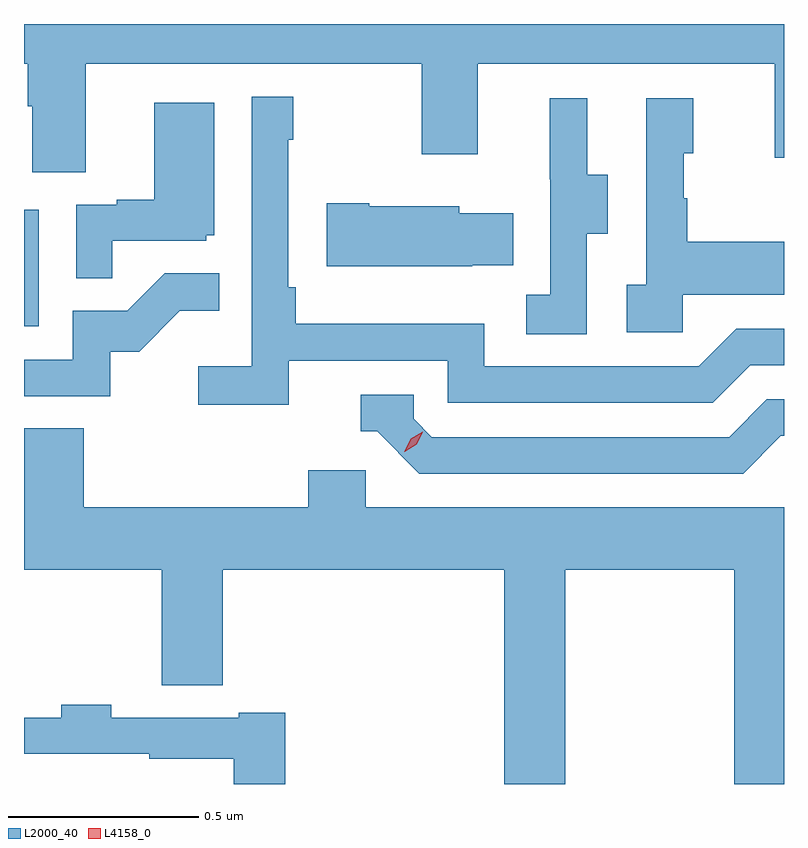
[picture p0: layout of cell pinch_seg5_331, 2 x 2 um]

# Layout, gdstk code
import gdstk
lib = gdstk.Library(unit=1e-6, precision=1e-09)
def R(c, l, rs):  # rectangles x0, y0, x1, y1
    for r in rs: c.add(gdstk.rectangle(r[:2], r[2:], *l))
def P(c, l, *ps):  # polygons
    for p in ps: c.add(gdstk.Polygon(p, *l))
L2000_40 = (2000, 40)
L4158_0 = (4158, 0)

pinch_seg5_331 = lib.new_cell('pinch_seg5_331')
R(pinch_seg5_331, L2000_40, [(923.353,882.708,923.392,883.015)])
P(pinch_seg5_331, L2000_40, [(923.515,883.4),(924.4,883.4),(924.4,883.161),(924.547,883.161),(924.547,883.4),(925.328,883.4),(925.328,883.152),(925.353,883.152),(925.353,883.504),(923.353,883.504),(923.353,883.4),(923.363,883.4),(923.363,883.288),(923.375,883.288),(923.375,883.114),(923.515,883.114)],
  [(924.05,882.618),(924.468,882.618),(924.468,882.507),(925.165,882.507),(925.264,882.606),(925.353,882.606),(925.353,882.702),(925.227,882.702),(925.128,882.603),(924.564,882.603),(924.564,882.715),(924.068,882.715),(924.068,882.811),(924.048,882.811),(924.048,883.199),(924.061,883.199),(924.061,883.312),(923.952,883.312),(923.952,882.604),(923.811,882.604),(923.811,882.502),(924.05,882.502)],
  [(925.086,882.791),(925.353,882.791),(925.353,882.931),(925.099,882.931),(925.099,883.046),(925.089,883.046),(925.089,883.164),(925.114,883.164),(925.114,883.309),(924.99,883.309),(924.99,882.818),(924.939,882.818),(924.939,882.693),(925.086,882.693)],
  [(924.834,882.952),(924.889,882.952),(924.889,883.107),(924.835,883.107),(924.835,883.309),(924.737,883.309),(924.737,883.095),(924.738,883.095),(924.738,882.791),(924.675,882.791),(924.675,882.688),(924.834,882.688)],
  [(923.585,882.933),(923.832,882.933),(923.832,882.948),(923.854,882.948),(923.854,883.297),(923.696,883.297),(923.696,883.042),(923.597,883.042),(923.597,883.029),(923.49,883.029),(923.49,882.835),(923.585,882.835)],
  [(924.533,882.869),(924.641,882.869),(924.641,883.006),(924.498,883.006),(924.498,883.024),(924.262,883.024),(924.262,883.032),(924.15,883.032),(924.15,882.866),(924.533,882.866)],
  [(923.58,882.642),(923.656,882.642),(923.763,882.749),(923.867,882.749),(923.867,882.848),(923.723,882.848),(923.625,882.75),(923.481,882.75),(923.481,882.621),(923.353,882.621),(923.353,882.525),(923.58,882.525)],
  [(925.345,882.42),(925.353,882.42),(925.353,882.516),(925.308,882.516),(925.209,882.417),(924.426,882.417),(924.378,882.465),(924.378,882.528),(924.239,882.528),(924.239,882.432),(924.282,882.432),(924.393,882.321),(925.246,882.321)],
  [(924.777,882.068),(925.222,882.068),(925.222,881.504),(925.353,881.504),(925.353,882.232),(924.252,882.232),(924.252,882.33),(924.101,882.33),(924.101,882.232),(923.51,882.232),(923.51,882.44),(923.353,882.44),(923.353,882.068),(923.716,882.068),(923.716,881.764),(923.876,881.764),(923.876,882.068),(924.617,882.068),(924.617,881.504),(924.777,881.504)],
  [(924.041,881.692),(923.918,881.692),(923.918,881.679),(923.583,881.679),(923.583,881.712),(923.451,881.712),(923.451,881.679),(923.353,881.679),(923.353,881.583),(923.683,881.583),(923.683,881.571),(923.905,881.571),(923.905,881.504),(924.041,881.504)])
P(pinch_seg5_331, L4158_0, [(924.354,882.379),(924.354,882.379),(924.371,882.412),(924.402,882.431),(924.402,882.431),(924.402,882.431),(924.386,882.398),(924.355,882.379)])

lib.write_gds('pinch_seg5_331.gds')
